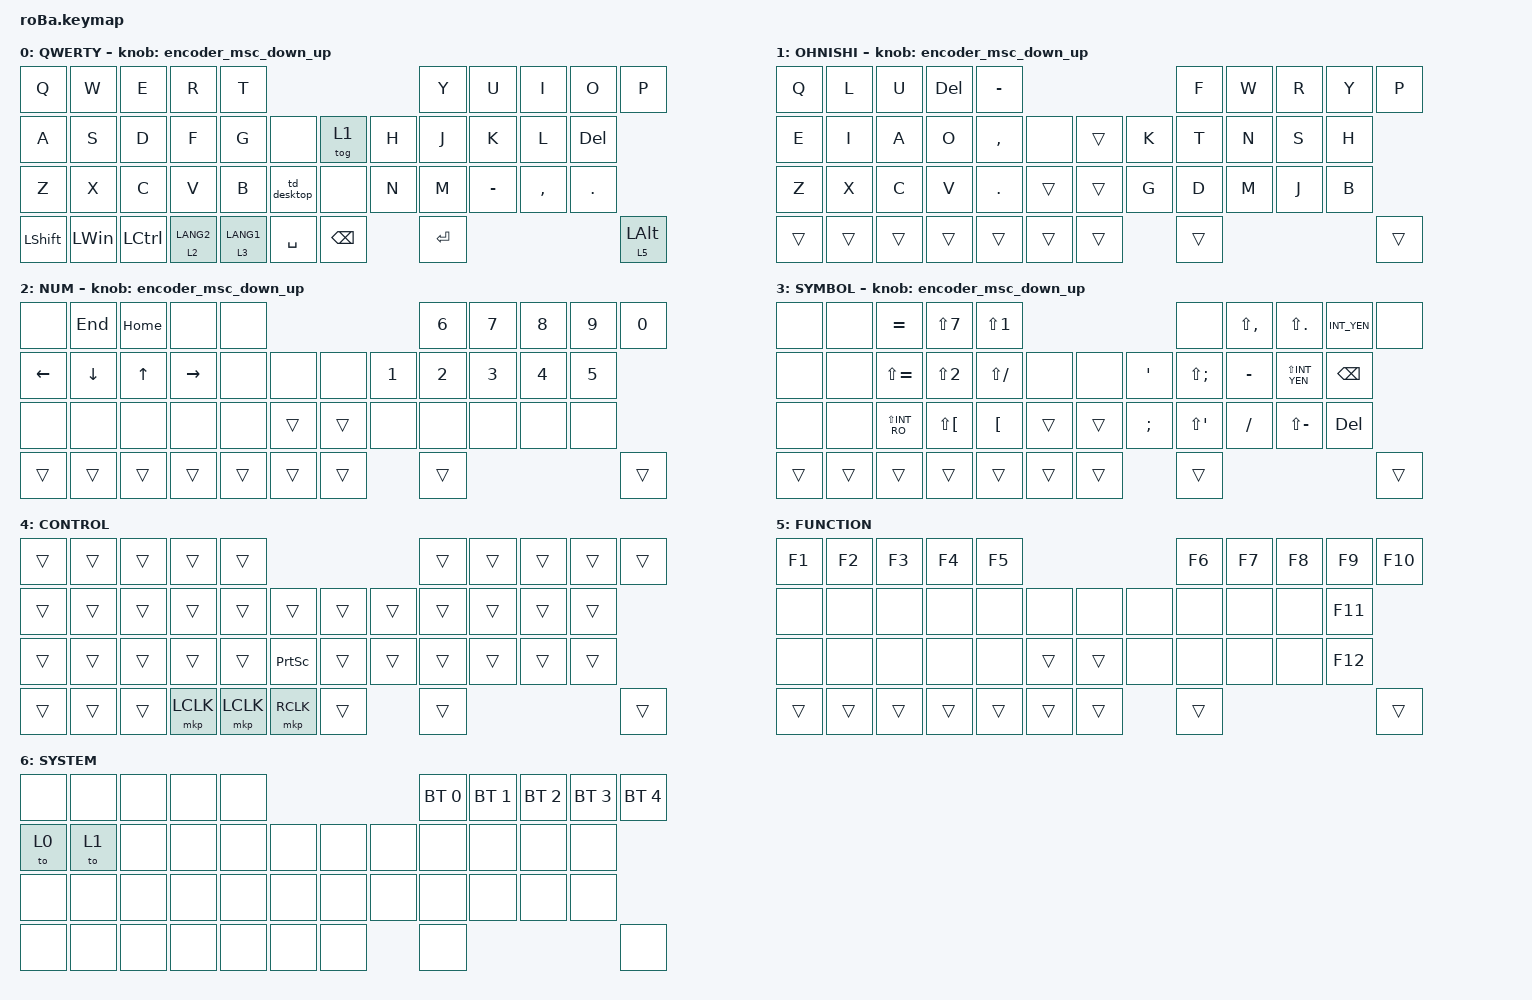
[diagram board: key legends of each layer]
#include <behaviors.dtsi>
#include <dt-bindings/zmk/bt.h>
#include <dt-bindings/zmk/keys.h>
#include <dt-bindings/zmk/pointing.h> 

#define ZMK_POINTING_DEFAULT_SCRL_VAL 80

&mt {
    flavor = "balanced";
    quick-tap-ms = <0>;
};

&trackball {
    automouse-layer = <4>;
};

/ {
    combos {
        compatible = "zmk,combos";

        esc {
            bindings = <&kp ESC>;
            key-positions = <0 1>;
        };

        tab {
            bindings = <&kp TAB>;
            key-positions = <10 11>;
        };

        shift_tab {
            bindings = <&kp LS(TAB)>;
            key-positions = <11 12>;
        };

        parenthesises {
            bindings = <&parenthesises>;
            key-positions = <19 20>;
        };

        brackets {
            bindings = <&brackets>;
            key-positions = <7 8>;
        };

        braces {
            bindings = <&braces>;
            key-positions = <31 32>;
        };

        system_layer {
            bindings = <&mo 6>;
            key-positions = <27 28>;
            layers = <0 1>;
            timeout-ms = <50>;
        };

        bt_clr {
            bindings = <&bt BT_CLR>;
            key-positions = <5 6>;
            layers = <6>;
            timeout-ms = <50>;
        };

        bt_clr_all {
            bindings = <&bt BT_CLR_ALL>;
            key-positions = <5 9>;
            layers = <6>;
            timeout-ms = <50>;
        };

        boot {
            bindings = <&bootloader>;
            key-positions = <8 9>;
            layers = <6>;
            timeout-ms = <50>;
        };
    };

    macros {
        parenthesises: parenthesises {
            compatible = "zmk,behavior-macro";
            #binding-cells = <0>;
            bindings = <&kp LS(N8) &kp LS(N9) &kp LEFT_ARROW>;
        };

        braces: braces {
            compatible = "zmk,behavior-macro";
            #binding-cells = <0>;
            bindings = <&kp LS(RIGHT_BRACKET) &kp LS(BACKSLASH) &kp LEFT_ARROW>;
        };

        brackets: brackets {
            compatible = "zmk,behavior-macro";
            #binding-cells = <0>;
            bindings = <&kp RIGHT_BRACKET &kp BACKSLASH &kp LEFT_ARROW>;
        };
    };

    behaviors {
        encoder_msc_down_up: encoder_msc_down_up {
            compatible = "zmk,behavior-sensor-rotate";
            label = "ENCODER_MSC_DOWN_UP";
            #sensor-binding-cells = <0>;
            bindings = <&msc SCRL_DOWN>, <&msc SCRL_UP>;
            tap-ms = <20>;
        };

        td_desktop: td_desktop {
            compatible = "zmk,behavior-tap-dance";
            #binding-cells = <0>;
            tapping-term-ms = <250>;
            bindings = <&kp LG(LC(RIGHT))>, <&kp LG(LC(LEFT))>;
        };
    };

    keymap {
        compatible = "zmk,keymap";

        QWERTY {
            bindings = <
&kp Q             &kp W         &kp E         &kp R     &kp T                                             &kp Y          &kp U  &kp I      &kp O    &kp P
&kp A             &kp S         &kp D         &kp F     &kp G          &none            &tog 1       &kp H          &kp J  &kp K      &kp L    &kp DEL
&kp Z             &kp X         &kp C         &kp V     &kp B          &td_desktop      &none        &kp N          &kp M  &kp MINUS  &kp COMMA  &kp DOT
&kp LEFT_SHIFT    &kp LEFT_WIN     &kp LCTRL    &lt 2 LANG2    &lt 3 LANG1    &kp SPACE     &kp BACKSPACE    &kp ENTER                                  &lt 5 LALT
            >;

            sensor-bindings = <&encoder_msc_down_up>;
        };

        OHNISHI {
            bindings = < 
&kp Q    &kp L     &kp U    &kp DEL     &kp MINUS                            &kp F  &kp W  &kp R  &kp Y  &kp P
&kp E    &kp I     &kp A    &kp O       &kp COMMA       &none      &trans    &kp K  &kp T  &kp N  &kp S  &kp H
&kp Z    &kp X     &kp C    &kp V       &kp DOT         &trans     &trans    &kp G  &kp D  &kp M  &kp J  &kp B
&trans   &trans    &trans   &trans      &trans          &trans     &trans    &trans                      &trans
            >;

            sensor-bindings = <&encoder_msc_down_up>;
        };

        NUM {
            bindings = <
&none        &kp END      &kp HOME   &none         &none                           &kp N6     &kp N7     &kp N8     &kp N9     &kp N0
&kp LEFT     &kp DOWN     &kp UP     &kp RIGHT     &none     &none     &none       &kp N1     &kp N2     &kp N3     &kp N4     &kp N5
&none        &none        &none      &none         &none     &trans    &trans      &none      &none      &none      &none      &none
&trans    &trans    &trans    &trans    &trans    &trans    &trans      &trans                                        &trans
            >;

            sensor-bindings = <&encoder_msc_down_up>;
        };

        SYMBOL {
            bindings = <
&none    &none    &kp EQUAL            &kp LS(N7)              &kp LS(N1)                                    &none                &kp LS(COMMA)           &kp LS(DOT)     &kp INT_YEN        &none
&none    &none    &kp LS(EQUAL)        &kp LS(N2)              &kp LS(SLASH)    &none    &none            &kp SINGLE_QUOTE     &kp LS(SEMICOLON)       &kp MINUS       &kp LS(INT_YEN)    &kp BACKSPACE
&none    &none    &kp LS(INT_RO)       &kp LS(LEFT_BRACKET)    &kp LEFT_BRACKET &trans   &trans           &kp SEMICOLON        &kp LS(SINGLE_QUOTE)    &kp SLASH       &kp LS(MINUS)      &kp DEL
&trans            &trans        &trans        &trans                &trans           &trans        &trans           &trans                                                                 &trans
            >;

            sensor-bindings = <&encoder_msc_down_up>;
        };

        CONTROL {
            bindings = <
&trans    &trans     &trans     &trans     &trans                              &trans    &trans      &trans      &trans       &trans
&trans    &trans     &trans     &trans     &trans    &trans      &trans        &trans    &trans      &trans      &trans       &trans
&trans    &trans     &trans     &trans     &trans    &kp PSCRN   &trans        &trans    &trans      &trans      &trans       &trans
&trans    &trans     &trans     &mkp LCLK  &mkp LCLK  &mkp RCLK  &trans    &trans                                         &trans
            >;
        };

        FUNCTION {
            bindings = <
&kp F1    &kp F2     &kp F3     &kp F4     &kp F5                              &kp F6    &kp F7    &kp F8    &kp F9    &kp F10
&none     &none      &none      &none      &none     &none       &none         &none     &none     &none     &none     &kp F11
&none     &none      &none      &none      &none     &trans      &trans        &none     &none     &none     &none     &kp F12
&trans    &trans     &trans     &trans     &trans    &trans      &trans        &trans                                  &trans
            >;
        };

        SYSTEM {
            bindings = <
&none    &none    &none    &none    &none                            &bt BT_SEL 0    &bt BT_SEL 1    &bt BT_SEL 2    &bt BT_SEL 3    &bt BT_SEL 4
&to 0    &to 1    &none    &none    &none    &none      &none        &none           &none           &none           &none           &none
&none    &none    &none    &none    &none    &none      &none        &none           &none           &none           &none           &none
&none    &none    &none    &none    &none    &none      &none        &none                                                           &none
            >;
        };
    };
};
